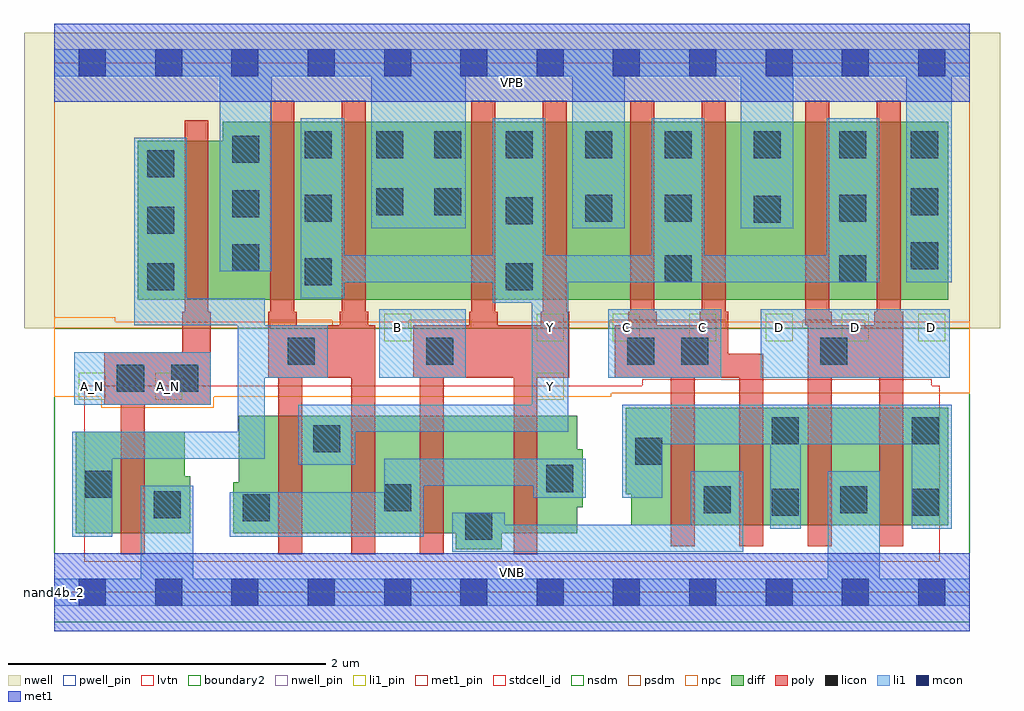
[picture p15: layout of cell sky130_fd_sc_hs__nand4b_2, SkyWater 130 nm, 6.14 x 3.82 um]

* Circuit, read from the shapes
.subckt sky130_fd_sc_hs__nand4b_2 A_N B C D VGND VNB VPB VPWR Y
XM1 VGND A_N n1 VNB sky130_fd_pr__nfet_01v8_lvt w=0.64 l=0.15
XM2 Y n1 n2 VNB sky130_fd_pr__nfet_01v8_lvt w=0.74 l=0.15 m=2
XM3 n3 B n2 VNB sky130_fd_pr__nfet_01v8_lvt w=0.74 l=0.15 m=2
XM4 n3 C n4 VNB sky130_fd_pr__nfet_01v8_lvt w=0.74 l=0.15 m=2
XM5 VGND D n4 VNB sky130_fd_pr__nfet_01v8_lvt w=0.74 l=0.15 m=2
XM6 VPWR A_N n1 VPB sky130_fd_pr__pfet_01v8 w=1 l=0.15
XM7 Y n1 VPWR VPB sky130_fd_pr__pfet_01v8 w=1.12 l=0.15 m=2
XM8 Y B VPWR VPB sky130_fd_pr__pfet_01v8 w=1.12 l=0.15 m=2
XM9 Y C VPWR VPB sky130_fd_pr__pfet_01v8 w=1.12 l=0.15 m=2
XM10 Y D VPWR VPB sky130_fd_pr__pfet_01v8 w=1.12 l=0.15 m=2
.ends

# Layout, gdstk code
import gdstk
lib = gdstk.Library(unit=1e-6, precision=1e-09)
def R(c, l, rs):  # rectangles x0, y0, x1, y1
    for r in rs: c.add(gdstk.rectangle(r[:2], r[2:], *l))
def A(c, l, x, y, w, h, nx, ny, dx, dy):  # array of equal rectangles
    R(c, l, [(x+i*dx, y+j*dy, x+i*dx+w, y+j*dy+h) for i in range(nx) for j in range(ny)])
def P(c, l, *ps):  # polygons
    for p in ps: c.add(gdstk.Polygon(p, *l))
nwell_pin = (64, 16)
nwell = (64, 20)
diff = (65, 20)
poly = (66, 20)
licon = (66, 44)
li1_pin = (67, 16)
li1 = (67, 20)
mcon = (67, 44)
met1_pin = (68, 16)
met1 = (68, 20)
stdcell_id = (81, 4)
nsdm = (93, 44)
psdm = (94, 20)
npc = (95, 20)
pwell_pin = (122, 16)
lvtn = (125, 44)
boundary2 = (236, 0)

sky130_fd_sc_hs__nand4b_ = lib.new_cell('sky130_fd_sc_hs__nand4b_2')
R(sky130_fd_sc_hs__nand4b_, nwell_pin, [(0,3.085,5.76,3.33)])
R(sky130_fd_sc_hs__nand4b_, nwell, [(-0.19,1.66,5.95,3.52)])
P(sky130_fd_sc_hs__nand4b_, diff, [(0.855,0.73),(0.82,0.73),(0.82,1.01),(0.135,1.01),(0.135,0.37),(0.855,0.37)],
  [(3.325,0.9),(3.29,0.9),(3.29,1.11),(1.16,1.11),(1.16,0.69),(1.125,0.69),(1.125,0.37),(2.525,0.37),(2.525,0.27),(2.815,0.27),(2.815,0.37),(3.29,0.37),(3.29,0.535),(3.325,0.535)],
  [(5.625,2.96),(1.06,2.96),(1.06,2.84),(0.525,2.84),(0.525,1.84),(5.625,1.84)],
  [(5.625,1.16),(3.595,1.16),(3.595,0.615),(3.63,0.615),(3.63,0.42),(5.625,0.42)])
P(sky130_fd_sc_hs__nand4b_, poly, [(0.985,1.765),(0.97,1.765),(0.97,2.97),(0.82,2.97),(0.82,1.765),(0.805,1.765),(0.805,1.51),(0.315,1.51),(0.315,1.18),(0.42,1.18),(0.42,0.24),(0.57,0.24),(0.57,1.18),(0.985,1.18)],
  [(5.34,1.765),(5.325,1.765),(5.325,3.09),(5.175,3.09),(5.175,1.765),(5.16,1.765),(5.16,1.68),(4.89,1.68),(4.89,1.765),(4.875,1.765),(4.875,3.09),(4.725,3.09),(4.725,1.68),(4.74,1.68),(4.74,0.29),(4.89,0.29),(4.89,1.35),(5.19,1.35),(5.19,0.29),(5.34,0.29)],
  [(2.02,1.68),(1.975,1.68),(1.975,1.765),(1.96,1.765),(1.96,3.09),(1.81,3.09),(1.81,1.765),(1.795,1.765),(1.795,1.68),(1.525,1.68),(1.525,1.765),(1.51,1.765),(1.51,3.09),(1.36,3.09),(1.36,1.765),(1.345,1.765),(1.345,1.35),(1.41,1.35),(1.41,0.24),(1.56,0.24),(1.56,1.35),(1.87,1.35),(1.87,0.24),(2.02,0.24)],
  [(3.24,1.765),(3.225,1.765),(3.225,3.09),(3.075,3.09),(3.075,1.765),(3.06,1.765),(3.06,1.68),(2.79,1.68),(2.79,1.765),(2.775,1.765),(2.775,3.09),(2.625,3.09),(2.625,1.765),(2.61,1.765),(2.61,1.68),(2.26,1.68),(2.26,1.35),(2.3,1.35),(2.3,0.24),(2.45,0.24),(2.45,1.35),(2.89,1.35),(2.89,0.24),(3.04,0.24),(3.04,1.35),(3.24,1.35)],
  [(4.46,1.5),(4.24,1.5),(4.24,1.765),(4.225,1.765),(4.225,3.09),(4.075,3.09),(4.075,1.765),(4.06,1.765),(4.06,1.68),(3.79,1.68),(3.79,1.765),(3.775,1.765),(3.775,3.09),(3.625,3.09),(3.625,1.765),(3.61,1.765),(3.61,1.68),(3.525,1.68),(3.525,1.35),(3.88,1.35),(3.88,0.29),(4.03,0.29),(4.03,1.35),(4.31,1.35),(4.31,0.29),(4.46,0.29)])
A(sky130_fd_sc_hs__nand4b_, licon, 0.585, 1.9, 0.17, 0.17, 1, 3, 0, 0.355)
A(sky130_fd_sc_hs__nand4b_, licon, 1.575, 1.93, 0.17, 0.17, 1, 3, 0, 0.4)
A(sky130_fd_sc_hs__nand4b_, licon, 1.12, 2.02, 0.17, 0.17, 1, 3, 0, 0.34)
A(sky130_fd_sc_hs__nand4b_, licon, 2.84, 2.73, 0.17, 0.17, 3, 1, 0.5, 0)
R(sky130_fd_sc_hs__nand4b_, licon, [(2.585,0.33,2.755,0.5), (1.185,0.445,1.355,0.615), (0.625,0.465,0.795,0.635), (4.515,0.48,4.685,0.65), (5.395,0.48,5.565,0.65), (4.085,0.495,4.255,0.665), (4.945,0.495,5.115,0.665), (2.075,0.51,2.245,0.68), (0.195,0.595,0.365,0.765), (3.095,0.63,3.265,0.8), (3.655,0.8,3.825,0.97), (1.63,0.88,1.8,1.05), (4.515,0.93,4.685,1.1), (5.395,0.93,5.565,1.1), (0.395,1.26,0.565,1.43), (0.735,1.26,0.905,1.43), (1.47,1.43,1.64,1.6), (2.34,1.43,2.51,1.6), (3.605,1.43,3.775,1.6), (3.945,1.43,4.115,1.6), (4.82,1.43,4.99,1.6), (2.84,1.9,3.01,2.07), (3.84,1.95,4.01,2.12), (4.94,1.95,5.11,2.12), (5.39,2.03,5.56,2.2), (2.84,2.315,3.01,2.485), (4.4,2.325,4.57,2.495), (3.34,2.33,3.51,2.5), (3.84,2.33,4.01,2.5), (4.94,2.33,5.11,2.5), (2.025,2.37,2.195,2.54), (2.39,2.37,2.56,2.54), (5.39,2.37,5.56,2.54), (2.025,2.73,2.195,2.9), (2.39,2.73,2.56,2.9), (4.4,2.73,4.57,2.9), (4.94,2.73,5.11,2.9), (5.39,2.73,5.56,2.9)])
A(sky130_fd_sc_hs__nand4b_, li1_pin, 3.035, 1.58, 0.17, 0.17, 6, 1, 0.48, 0)
R(sky130_fd_sc_hs__nand4b_, li1_pin, [(0.155,1.21,0.325,1.38), (0.635,1.21,0.805,1.38), (3.035,1.21,3.205,1.38), (2.075,1.58,2.245,1.75)])
R(sky130_fd_sc_hs__nand4b_, li1, [(0.125,1.18,0.985,1.51), (2.045,1.35,2.59,1.78), (3.485,1.35,4.195,1.78), (4.445,1.35,5.635,1.78)])
P(sky130_fd_sc_hs__nand4b_, li1, [(5.76,3.415),(0,3.415),(0,3.245),(1.04,3.245),(1.04,2.02),(1.37,2.02),(1.37,3.245),(1.995,3.245),(1.995,2.29),(2.59,2.29),(2.59,3.245),(3.26,3.245),(3.26,2.29),(3.59,2.29),(3.59,3.245),(4.32,3.245),(4.32,2.29),(4.65,2.29),(4.65,3.245),(5.36,3.245),(5.36,1.95),(5.645,1.95),(5.645,3.245),(5.76,3.245)],
  [(1.72,1.68),(1.325,1.68),(1.325,1.85),(0.835,1.85),(0.835,2.86),(0.505,2.86),(0.505,1.68),(1.155,1.68),(1.155,1.01),(0.115,1.01),(0.115,0.35),(0.365,0.35),(0.365,0.84),(1.325,0.84),(1.325,1.35),(1.72,1.35)],
  [(5.645,1.18),(3.575,1.18),(3.575,0.595),(3.825,0.595),(3.825,0.93),(4.505,0.93),(4.505,0.4),(4.695,0.4),(4.695,0.93),(5.395,0.93),(5.395,0.4),(5.645,0.4)],
  [(3.345,0.84),(2.075,0.84),(2.075,0.63),(1.105,0.63),(1.105,0.35),(2.325,0.35),(2.325,0.67),(3.015,0.67),(3.015,0.595),(3.345,0.595)],
  [(4.335,0.76),(4.005,0.76),(4.005,0.425),(2.835,0.425),(2.835,0.5),(2.505,0.5),(2.505,0.255),(4.335,0.255)],
  [(5.76,0.085),(5.195,0.085),(5.195,0.76),(4.865,0.76),(4.865,0.085),(0.875,0.085),(0.875,0.67),(0.545,0.67),(0.545,0.085),(0,0.085),(0,-0.085),(5.76,-0.085)],
  [(5.19,2.98),(4.86,2.98),(4.86,2.12),(4.09,2.12),(4.09,2.98),(3.76,2.98),(3.76,2.12),(3.09,2.12),(3.09,2.98),(2.76,2.98),(2.76,2.12),(1.825,2.12),(1.825,2.98),(1.55,2.98),(1.55,1.85),(1.825,1.85),(1.825,1.95),(2.76,1.95),(2.76,1.82),(3.005,1.82),(3.005,1.18),(1.535,1.18),(1.535,0.8),(1.895,0.8),(1.895,1.01),(3.235,1.01),(3.235,1.95),(5.19,1.95)])
A(sky130_fd_sc_hs__nand4b_, mcon, 0.155, -0.085, 0.17, 0.17, 12, 2, 0.48, 3.33)
R(sky130_fd_sc_hs__nand4b_, met1_pin, [(0,0,5.76,0.245), (0,3.085,5.76,3.33)])
R(sky130_fd_sc_hs__nand4b_, met1, [(0,-0.245,5.76,0.245), (0,3.085,5.76,3.575)])
R(sky130_fd_sc_hs__nand4b_, stdcell_id, [(0,0,5.76,3.33)])
R(sky130_fd_sc_hs__nand4b_, nsdm, [(0,-0.19,5.76,1.66)])
P(sky130_fd_sc_hs__nand4b_, psdm, [(5.76,3.52),(0,3.52),(0,1.66),(1.36,1.66),(1.36,1.71),(1.75,1.71),(1.75,1.66),(2.23,1.66),(2.23,1.71),(2.62,1.71),(2.62,1.66),(3.495,1.66),(3.495,1.71),(4.225,1.71),(4.225,1.66),(4.71,1.66),(4.71,1.71),(5.1,1.71),(5.1,1.66),(5.76,1.66)])
P(sky130_fd_sc_hs__nand4b_, npc, [(5.76,1.7),(0.385,1.7),(0.385,1.73),(0,1.73),(0,1.23),(0.295,1.23),(0.295,1.16),(1.005,1.16),(1.005,1.23),(3.505,1.23),(3.505,1.25),(5.76,1.25)])
R(sky130_fd_sc_hs__nand4b_, pwell_pin, [(0,0,5.76,0.245)])
P(sky130_fd_sc_hs__nand4b_, lvtn, [(5.57,1.3),(5.52,1.3),(5.52,1.34),(3.7,1.34),(3.7,1.3),(0.19,1.3),(0.19,0.19),(5.57,0.19)])
R(sky130_fd_sc_hs__nand4b_, boundary2, [(0,0,5.76,3.33)])
sky130_fd_sc_hs__nand4b_.add(gdstk.Label('nand4b_2', (0,0), layer=83, texttype=44))
sky130_fd_sc_hs__nand4b_.add(gdstk.Label('VNB', (2.88,0.123), layer=64, texttype=59))
sky130_fd_sc_hs__nand4b_.add(gdstk.Label('VPB', (2.88,3.208), layer=64, texttype=5))
sky130_fd_sc_hs__nand4b_.add(gdstk.Label('VPWR', (2.88,3.208), layer=68, texttype=5))
sky130_fd_sc_hs__nand4b_.add(gdstk.Label('VGND', (2.88,0.123), layer=68, texttype=5))
sky130_fd_sc_hs__nand4b_.add(gdstk.Label('Y', (3.12,1.295), layer=67, texttype=5))
sky130_fd_sc_hs__nand4b_.add(gdstk.Label('Y', (3.12,1.665), layer=67, texttype=5))
sky130_fd_sc_hs__nand4b_.add(gdstk.Label('A_N', (0.24,1.295), layer=67, texttype=5))
sky130_fd_sc_hs__nand4b_.add(gdstk.Label('A_N', (0.72,1.295), layer=67, texttype=5))
sky130_fd_sc_hs__nand4b_.add(gdstk.Label('D', (4.56,1.665), layer=67, texttype=5))
sky130_fd_sc_hs__nand4b_.add(gdstk.Label('D', (5.04,1.665), layer=67, texttype=5))
sky130_fd_sc_hs__nand4b_.add(gdstk.Label('D', (5.52,1.665), layer=67, texttype=5))
sky130_fd_sc_hs__nand4b_.add(gdstk.Label('C', (3.6,1.665), layer=67, texttype=5))
sky130_fd_sc_hs__nand4b_.add(gdstk.Label('C', (4.08,1.665), layer=67, texttype=5))
sky130_fd_sc_hs__nand4b_.add(gdstk.Label('B', (2.16,1.665), layer=67, texttype=5))

lib.write_gds('sky130_fd_sc_hs__nand4b_2.gds')
